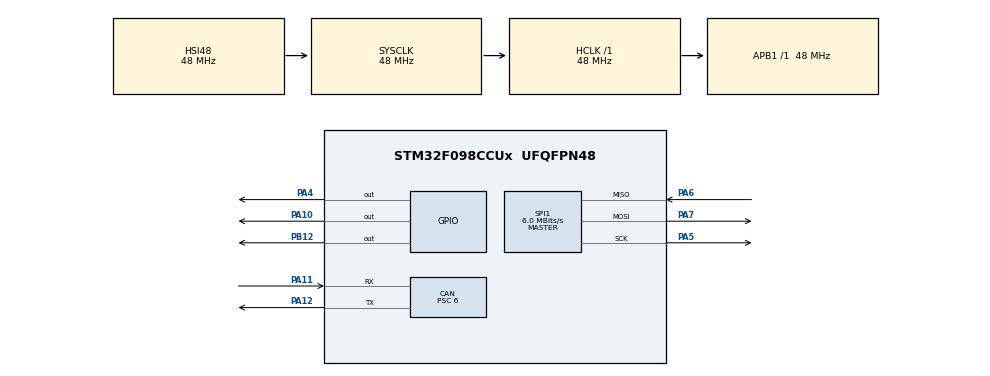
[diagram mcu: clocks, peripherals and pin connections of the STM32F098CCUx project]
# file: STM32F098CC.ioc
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CAN.BS1=CAN_BS1_4TQ
CAN.BS2=CAN_BS2_2TQ
CAN.CalculateTimeQuantum=125.0
CAN.Mode=CAN_MODE_SILENT_LOOPBACK
CAN.Prescaler=6
CAN.SJW=CAN_SJW_2TQ
Dma.Request0=SPI1_RX
Dma.SPI1_RX.0.Direction=DMA_PERIPH_TO_MEMORY
Dma.SPI1_RX.0.Instance=DMA1_Channel2
Dma.SPI1_RX.0.MemDataAlignment=DMA_MDATAALIGN_BYTE
Dma.SPI1_RX.0.MemInc=DMA_MINC_ENABLE
Dma.SPI1_RX.0.Mode=DMA_NORMAL
Dma.SPI1_RX.0.PeriphDataAlignment=DMA_PDATAALIGN_BYTE
Dma.SPI1_RX.0.PeriphInc=DMA_PINC_DISABLE
Dma.SPI1_RX.0.Priority=DMA_PRIORITY_LOW
Mcu.Family=STM32F0
Mcu.Name=STM32F098CCUx
Mcu.Package=UFQFPN48
NVIC.DMA1_Ch2_3_DMA2_Ch1_2_IRQn=true\:0\:0\:false\:false\:true\:false
PA10.Signal=GPIO_Output
PA11.Mode=Master
PA11.Signal=CAN_RX
PA12.Mode=Master
PA12.Signal=CAN_TX
PA4.Signal=GPIO_Output
PA5.Mode=Full_Duplex_Master
PA5.Signal=SPI1_SCK
PA6.Mode=Full_Duplex_Master
PA6.Signal=SPI1_MISO
PA7.Mode=Full_Duplex_Master
PA7.Signal=SPI1_MOSI
PB12.Signal=GPIO_Output
ProjectManager.HeapSize=0x200
ProjectManager.StackSize=0x400
ProjectManager.TargetToolchain=TrueSTUDIO
RCC.AHBFreq_Value=48000000
RCC.APB1Freq_Value=48000000
RCC.APB1TimFreq_Value=48000000
RCC.HCLKFreq_Value=48000000
RCC.PLLMUL=RCC_PLL_MUL5
RCC.SYSCLKFreq_VALUE=48000000
RCC.SYSCLKSource=RCC_SYSCLKSOURCE_HSI48
SPI1.BaudRatePrescaler=SPI_BAUDRATEPRESCALER_8
SPI1.CLKPhase=SPI_PHASE_2EDGE
SPI1.CLKPolarity=SPI_POLARITY_HIGH
SPI1.CalculateBaudRate=6.0 MBits/s
SPI1.DataSize=SPI_DATASIZE_8BIT
SPI1.Direction=SPI_DIRECTION_2LINES
SPI1.Mode=SPI_MODE_MASTER
SPI1.VirtualType=VM_MASTER
board=custom

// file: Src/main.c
/**
  ******************************************************************************
  * @file           : main.c
  * @brief          : Main program body
  ******************************************************************************
  ** This notice applies to any and all portions of this file
  * that are not between comment pairs USER CODE BEGIN and
  * USER CODE END. Other portions of this file, whether
  * inserted by the user or by software development tools
  * are owned by their respective copyright owners.
  *
  * COPYRIGHT(c) 2018 STMicroelectronics
  *
  * Redistribution and use in source and binary forms, with or without modification,
  * are permitted provided that the following conditions are met:
  *   1. Redistributions of source code must retain the above copyright notice,
  *      this list of conditions and the following disclaimer.
  *   2. Redistributions in binary form must reproduce the above copyright notice,
  *      this list of conditions and the following disclaimer in the documentation
  *      and/or other materials provided with the distribution.
  *   3. Neither the name of STMicroelectronics nor the names of its contributors
  *      may be used to endorse or promote products derived from this software
  *      without specific prior written permission.
  *
  * THIS SOFTWARE IS PROVIDED BY THE COPYRIGHT HOLDERS AND CONTRIBUTORS "AS IS"
  * AND ANY EXPRESS OR IMPLIED WARRANTIES, INCLUDING, BUT NOT LIMITED TO, THE
  * IMPLIED WARRANTIES OF MERCHANTABILITY AND FITNESS FOR A PARTICULAR PURPOSE ARE
  * DISCLAIMED. IN NO EVENT SHALL THE COPYRIGHT HOLDER OR CONTRIBUTORS BE LIABLE
  * FOR ANY DIRECT, INDIRECT, INCIDENTAL, SPECIAL, EXEMPLARY, OR CONSEQUENTIAL
  * DAMAGES (INCLUDING, BUT NOT LIMITED TO, PROCUREMENT OF SUBSTITUTE GOODS OR
  * SERVICES; LOSS OF USE, DATA, OR PROFITS; OR BUSINESS INTERRUPTION) HOWEVER
  * CAUSED AND ON ANY THEORY OF LIABILITY, WHETHER IN CONTRACT, STRICT LIABILITY,
  * OR TORT (INCLUDING NEGLIGENCE OR OTHERWISE) ARISING IN ANY WAY OUT OF THE USE
  * OF THIS SOFTWARE, EVEN IF ADVISED OF THE POSSIBILITY OF SUCH DAMAGE.
  *
  ******************************************************************************
  */
#include "main.h"
#include "stm32f0xx_hal.h"

/* USER CODE BEGIN Includes */
#include "sensor.h"
#include "spi.h"
#include "helperFunctions.h"

/* USER CODE END Includes */

CAN_HandleTypeDef hcan;

SPI_HandleTypeDef hspi1;
DMA_HandleTypeDef hdma_spi1_rx;

/* USER CODE BEGIN PV */
/* Private variables ---------------------------------------------------------*/
/* USER CODE END PV */

void SystemClock_Config(void);
static void MX_GPIO_Init(void);
static void MX_DMA_Init(void);
static void MX_SPI1_Init(void);
static void MX_CAN_Init(void);

/* USER CODE BEGIN PFP */
/* Private function prototypes -----------------------------------------------*/
int VerifySensorConfig(SPI_HandleTypeDef*, uint8_t[], int len);
int WriteVerifySensorRegister (SPI_HandleTypeDef*, uint8_t, uint8_t);
void ConfigureSensor(SPI_HandleTypeDef*,uint8_t[]);
/* USER CODE END PFP */

int main(void)
{
  /* USER CODE BEGIN 1 */
	static int configurationCorrect=0;
	static float sensorOutputX=0;
	static float sensorOutputY=0;
	static float sensorOutputZ=0;
	static uint8_t abc[6]={0};
	static uint8_t abd[6]={0};

//	uint8_t sensorData[4]= {SENSOR_OUT_X_H, SENSOR_OUT_X_L,0,0};
//  uint8_t sensorData[4]= {SENSOR_WHO_AM_I, SENSOR_WHO_AM_I,0,0};
	uint8_t sensorData[6]={0};
	uint8_t transmitData[6];
  /* USER CODE END 1 */

  /* MCU Configuration----------------------------------------------------------*/

  /* Reset of all peripherals, Initializes the Flash interface and the Systick. */
  HAL_Init();

  /* Configure the system clock */
  SystemClock_Config();

  /* USER CODE BEGIN SysInit */
//#############################
//#  Delay necessary for clocks to spread through chip. Otherwise MX_CAN_Init() fails
//#############################
  HAL_Delay(1000);
  CanTxMsgTypeDef CanTxMsg;
  CanTxMsg.StdId = 0x00;
  CanTxMsg.ExtId = 0x00;
  CanTxMsg.IDE = CAN_ID_STD;
  CanTxMsg.RTR = CAN_RTR_DATA;
  CanTxMsg.DLC = 6;

  CanRxMsgTypeDef CanRxMsg;
  /*CanRxMsg.StdId = 0;
  CanRxMsg.ExtId = 0;
  CanRxMsg.IDE = CAN_ID_STD;
  CanRxMsg.RTR = CAN_RTR_DATA;
  CanRxMsg.DLC = 6;
  CanRxMsg.FMI = 0;
  CanRxMsg.FIFONumber = CAN_FIFO0;*/

  CAN_FilterConfTypeDef CanFilterConf;
  CanFilterConf.FilterIdHigh = 0x000;
  CanFilterConf.FilterIdLow = 0x000;
  CanFilterConf.FilterMaskIdHigh = 0x000;
  CanFilterConf.FilterMaskIdLow = 0x000;
  CanFilterConf.FilterFIFOAssignment = CAN_FILTER_FIFO0;
  CanFilterConf.BankNumber = 0;
  CanFilterConf.FilterNumber = 0;
  CanFilterConf.FilterMode = CAN_FILTERMODE_IDLIST;
  CanFilterConf.FilterScale = CAN_FILTERSCALE_16BIT;
  CanFilterConf.FilterActivation = ENABLE;
  CanFilterConf.BankNumber = 0;
  hcan.pTxMsg = &CanTxMsg;
  hcan.pRxMsg = &CanRxMsg;

  /* USER CODE END SysInit */

  /* Initialize all configured peripherals */
  MX_GPIO_Init();
  MX_DMA_Init();
  MX_SPI1_Init();
  MX_CAN_Init();
  /* USER CODE BEGIN 2 */
  // CUBEMX-RESISTENT RECONFIG BEGIN
  HAL_GPIO_WritePin(GPIOA, GPIO_PIN_4, GPIO_PIN_SET);
  if(HAL_CAN_ConfigFilter(&hcan,&CanFilterConf) != HAL_OK)
    {
      /* Initialization Error */
      Error_Handler();
    }
    // END

  /* Sensor Config */
//  SPI_TxSensor(&hspi1, sensorConf, (uint16_t)LEN(sensorConf));
//  configurationCorrect=VerifySensorConfig(&hspi1, sensorConf, LEN(sensorConf));

//  for (int i=0; i<6;i++) abc[i] = WriteVerifySensorRegister(&hspi1,sensorConf[i*2],sensorConf[i*2+1]);
  HAL_GPIO_WritePin(GPIOA,GPIO_PIN_4,GPIO_PIN_RESET);
  	  HAL_SPI_Transmit(&hspi1,&sensorConf[0],2,50);
  	while( hspi1.State == HAL_SPI_STATE_BUSY );
  	HAL_GPIO_WritePin(GPIOA,GPIO_PIN_4,GPIO_PIN_SET);
  	  //SPI_TxSensor(&hspi1, &sensorConf[2*i], 2);
//  	  HAL_Delay(1000);

  for (int i=1; i<7;i++){
//	  HAL_GPIO_WritePin(GPIOA,GPIO_PIN_4,GPIO_PIN_RESET);
//	  HAL_SPI_Transmit(&hspi1,&sensorConf[(2*i)],2,50);
//	  HAL_GPIO_WritePin(GPIOA,GPIO_PIN_4,GPIO_PIN_SET);
	  SPI_TxSensor(&hspi1, &sensorConf[2*i], 2);
//	  HAL_Delay(0);
//	  abd[i-1]=sensorConf[(2*i)] + 0x80;
//	  HAL_GPIO_WritePin(GPIOA,GPIO_PIN_4,GPIO_PIN_RESET);
//	  HAL_SPI_Transmit(&hspi1,&abd[i-1],1,50);
//	  HAL_SPI_Receive(&hspi1,&abd[i-1],1,50);
//	  HAL_GPIO_WritePin(GPIOA,GPIO_PIN_4,GPIO_PIN_SET);
	  abd[i-1] = SPI_RxSensor(&hspi1,sensorConf[2*i]);
}

  /* USER CODE END 2 */

  /* Infinite loop */
  /* USER CODE BEGIN WHILE */
  while (1)
  {
	HAL_GPIO_TogglePin(GPIOB,GPIO_PIN_12);

//	sensorData[2]=SPI_RxSensor(&hspi1,sensorData[0]);
//	sensorData[3]=SPI_RxSensor(&hspi1,sensorData[1]);

	sensorData[0]=0xA8;

	HAL_GPIO_WritePin(GPIOA,GPIO_PIN_4,GPIO_PIN_RESET);
	HAL_SPI_Transmit(&hspi1,&sensorData[0],1,5);
	HAL_SPI_Receive(&hspi1,&sensorData[0],6,5);
	while( hspi1.State == HAL_SPI_STATE_BUSY );
	HAL_GPIO_WritePin(GPIOA,GPIO_PIN_4,GPIO_PIN_SET);

	for (int i=0; i<6; i++) {
		CanTxMsg.Data[i] = sensorData[i] ;
		sensorData[i]=0;
	}

	if(HAL_CAN_Transmit(&hcan,10) != HAL_OK)
	    {
	      /* CAN_Transmit_Error */
	      Error_Handler();
	    }

	if(HAL_CAN_GetState(&hcan) != HAL_CAN_STATE_READY)
	  {
	    return HAL_ERROR;
	  }

	if(HAL_CAN_Receive(&hcan,CAN_FIFO0,10) != HAL_OK)
	    {
	      /* CAN_Receive_Error */
	      Error_Handler();
	    }

	if(HAL_CAN_GetState(&hcan) != HAL_CAN_STATE_READY)
	  {
	    return HAL_ERROR;
	  }
	for (int i=0; i<6; i++) {
			sensorData[i] = CanRxMsg.Data[i] ;
	}
	sensorOutputX = ResolveAcceleration(sensorData[1],sensorData[0]);
	sensorOutputY = ResolveAcceleration(sensorData[3],sensorData[2]);
	sensorOutputZ = ResolveAcceleration(sensorData[5],sensorData[4]);

	HAL_GPIO_TogglePin(GPIOB,GPIO_PIN_12);
  /* USER CODE END WHILE */

  }

}

void SystemClock_Config(void)
{

  RCC_OscInitTypeDef RCC_OscInitStruct;
  RCC_ClkInitTypeDef RCC_ClkInitStruct;

    /**Initializes the CPU, AHB and APB busses clocks
    */
  RCC_OscInitStruct.OscillatorType = RCC_OSCILLATORTYPE_HSI48;
  RCC_OscInitStruct.HSI48State = RCC_HSI48_ON;
  RCC_OscInitStruct.PLL.PLLState = RCC_PLL_NONE;
  if (HAL_RCC_OscConfig(&RCC_OscInitStruct) != HAL_OK)
  {
    _Error_Handler(__FILE__, __LINE__);
  }

    /**Initializes the CPU, AHB and APB busses clocks
    */
  RCC_ClkInitStruct.ClockType = RCC_CLOCKTYPE_HCLK|RCC_CLOCKTYPE_SYSCLK
                              |RCC_CLOCKTYPE_PCLK1;
  RCC_ClkInitStruct.SYSCLKSource = RCC_SYSCLKSOURCE_HSI48;
  RCC_ClkInitStruct.AHBCLKDivider = RCC_SYSCLK_DIV1;
  RCC_ClkInitStruct.APB1CLKDivider = RCC_HCLK_DIV1;

  if (HAL_RCC_ClockConfig(&RCC_ClkInitStruct, FLASH_LATENCY_1) != HAL_OK)
  {
    _Error_Handler(__FILE__, __LINE__);
  }

    /**Configure the Systick interrupt time
    */
  HAL_SYSTICK_Config(HAL_RCC_GetHCLKFreq()/1000);

    /**Configure the Systick
    */
  HAL_SYSTICK_CLKSourceConfig(SYSTICK_CLKSOURCE_HCLK);

  /* SysTick_IRQn interrupt configuration */
  HAL_NVIC_SetPriority(SysTick_IRQn, 0, 0);
}

/* CAN init function */
static void MX_CAN_Init(void)
{

  hcan.Instance = CAN;
  hcan.Init.Prescaler = 6;
  hcan.Init.Mode = CAN_MODE_SILENT_LOOPBACK;
  hcan.Init.SJW = CAN_SJW_2TQ;
  hcan.Init.BS1 = CAN_BS1_4TQ;
  hcan.Init.BS2 = CAN_BS2_2TQ;
  hcan.Init.TTCM = DISABLE;
  hcan.Init.ABOM = DISABLE;
  hcan.Init.AWUM = DISABLE;
  hcan.Init.NART = DISABLE;
  hcan.Init.RFLM = DISABLE;
  hcan.Init.TXFP = DISABLE;
  HAL_Delay(100);
  if (HAL_CAN_Init(&hcan) != HAL_OK)
  {
    _Error_Handler(__FILE__, __LINE__);
  }

}

/* SPI1 init function */
static void MX_SPI1_Init(void)
{

  /* SPI1 parameter configuration*/
  hspi1.Instance = SPI1;
  hspi1.Init.Mode = SPI_MODE_MASTER;
  hspi1.Init.Direction = SPI_DIRECTION_2LINES;
  hspi1.Init.DataSize = SPI_DATASIZE_8BIT;
  hspi1.Init.CLKPolarity = SPI_POLARITY_HIGH;
  hspi1.Init.CLKPhase = SPI_PHASE_2EDGE;
  hspi1.Init.NSS = SPI_NSS_SOFT;
  hspi1.Init.BaudRatePrescaler = SPI_BAUDRATEPRESCALER_8;
  hspi1.Init.FirstBit = SPI_FIRSTBIT_MSB;
  hspi1.Init.TIMode = SPI_TIMODE_DISABLE;
  hspi1.Init.CRCCalculation = SPI_CRCCALCULATION_DISABLE;
  hspi1.Init.CRCPolynomial = 7;
  hspi1.Init.CRCLength = SPI_CRC_LENGTH_DATASIZE;
  hspi1.Init.NSSPMode = SPI_NSS_PULSE_DISABLE;
  if (HAL_SPI_Init(&hspi1) != HAL_OK)
  {
    _Error_Handler(__FILE__, __LINE__);
  }

}

static void MX_DMA_Init(void)
{
  /* DMA controller clock enable */
  __HAL_RCC_DMA1_CLK_ENABLE();

  /* DMA interrupt init */
  /* DMA1_Ch2_3_DMA2_Ch1_2_IRQn interrupt configuration */
  HAL_NVIC_SetPriority(DMA1_Ch2_3_DMA2_Ch1_2_IRQn, 0, 0);
  HAL_NVIC_EnableIRQ(DMA1_Ch2_3_DMA2_Ch1_2_IRQn);

}

/** Configure pins as
        * Analog
        * Input
        * Output
        * EVENT_OUT
        * EXTI
*/
static void MX_GPIO_Init(void)
{

  GPIO_InitTypeDef GPIO_InitStruct;

  /* GPIO Ports Clock Enable */
  __HAL_RCC_GPIOA_CLK_ENABLE();
  __HAL_RCC_GPIOB_CLK_ENABLE();

  /*Configure GPIO pin Output Level */
  HAL_GPIO_WritePin(GPIOA, GPIO_PIN_4|GPIO_PIN_10, GPIO_PIN_RESET);

  /*Configure GPIO pin Output Level */
  HAL_GPIO_WritePin(GPIOB, GPIO_PIN_12, GPIO_PIN_RESET);

  /*Configure GPIO pins : PA4 PA10 */
  GPIO_InitStruct.Pin = GPIO_PIN_4|GPIO_PIN_10;
  GPIO_InitStruct.Mode = GPIO_MODE_OUTPUT_PP;
  GPIO_InitStruct.Pull = GPIO_NOPULL;
  GPIO_InitStruct.Speed = GPIO_SPEED_FREQ_LOW;
  HAL_GPIO_Init(GPIOA, &GPIO_InitStruct);

  /*Configure GPIO pin : PB12 */
  GPIO_InitStruct.Pin = GPIO_PIN_12;
  GPIO_InitStruct.Mode = GPIO_MODE_OUTPUT_PP;
  GPIO_InitStruct.Pull = GPIO_NOPULL;
  GPIO_InitStruct.Speed = GPIO_SPEED_FREQ_LOW;
  HAL_GPIO_Init(GPIOB, &GPIO_InitStruct);

}

/* USER CODE BEGIN 4 */
int VerifySensorConfig(SPI_HandleTypeDef *hspi1, uint8_t sensorConf[], int len) {
	for (int i=0; i<len;i++) {
		if (!(i % 2)) {
			if (! (sensorConf[i+1] == SPI_RxSensor(hspi1,sensorConf[i]))) {
				return 0;
			}
		}
	}
	return 1;
}
int WriteVerifySensorRegister (SPI_HandleTypeDef *hspi1, uint8_t adress, uint8_t value) {
	uint8_t txData[2] = {adress, value};
	SPI_TxSensor(hspi1,txData,2);
	if (value == SPI_RxSensor(hspi1,adress)){
		return 1;
	} else {
		return 0;
	}
}
/* USER CODE END 4 */

void _Error_Handler(char *file, int line)
{
  while(1)
  {
  }
}

/************************ (C) COPYRIGHT STMicroelectronics *****END OF FILE****/
